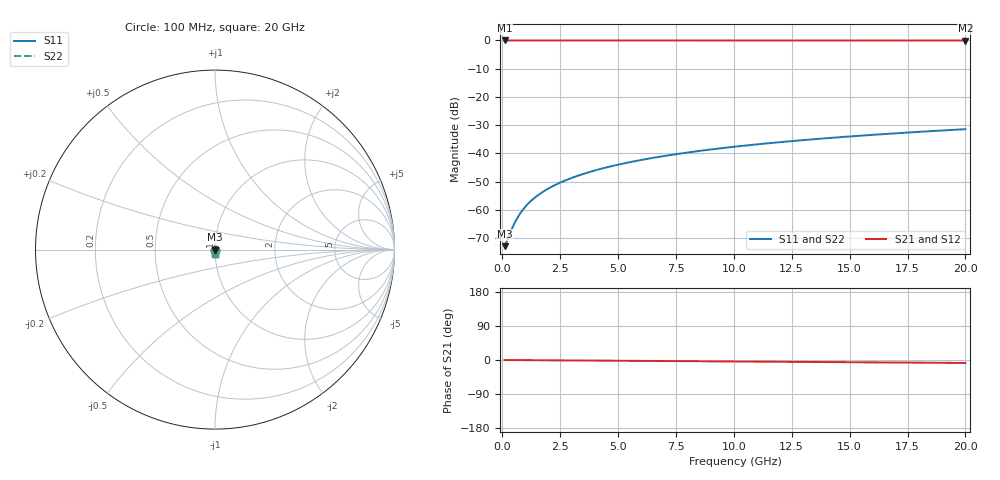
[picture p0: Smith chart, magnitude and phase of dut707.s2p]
! Touchstone file exported from HFSS 2026.1.0
!  File:  C:/ffzhzh/LocalFiles/Ansys_Project_Files/temp_train_TSV_707_1783181903_22436.aedt
!  Generated:  12:19:52 AM Jul  5, 2026
!  Design:  TSV
!  Project:  temp_train_TSV_707_1783181903_22436
! Variables:
!  h_bsmrdl = 2um
!  h_ox = 20um
!  h_rdl = 5um
!  h_sub = 81.63um
!  h_tmrdl = 5um
!  h_tsv = 81.63um
!  h_via = 3um
!  l_bsmrdl = 300um
!  l_sub = 414.88um
!  l_tmrdl = 200um
!  m_sub = 200um
!  pitch = 24.96um
!  r_tsv = 7.44um
!  s_tmrdl = 10um
!  w_bsmrdl = 18um
!  w_sub = 500um
!  w_tmrdl = 12um
!  x_tsv_center1 = 206um
!  x_tsv_center2 = 524um
!  x_tsv_center3 = 736um
!  x_tsv_center4 = 1054um
!  x_tsv_center5 = 1266um
!  x_tsv_center6 = 1584um
# GHz S MA R 50.000000
! Terminal data exported
! Port[1] = TSV1_1_T1
! Port[2] = TSV1_1_T2
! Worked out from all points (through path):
!   200 points, 100 MHz to 20 GHz, reference 50 ohm
!   highest |S21| = 0.00 dB at 100 MHz (marker M1); lowest = 0.0 dB at 20 GHz (marker M2)
!   group delay of S21, straight-line fit = 1.08 ps
!   lowest |S11| = -72.8 dB at 100 MHz (marker M3), VSWR 1.00, Z = 50 - j0.00773 ohm
!   |S11| at or under -10 dB: start of sweep to end of sweep
!   |S22| runs from -72.8 to -31.4 dB; largest |S21 - S12| = 2.1e-15
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0.1  0.0002288 -19.7  0.9998 -0.0  0.9998 -0.0  0.0002288 -19.7
! Gamma 0 0 0 0
! Port Impedance 50 0 50 0
0.2  0.0002817 -34.4  0.9998 -0.1  0.9998 -0.1  0.0002817 -34.4
0.4  0.00045 -50.4  0.9997 -0.2  0.9997 -0.2  0.00045 -50.4
0.5  0.0005532 -55.0  0.9997 -0.2  0.9997 -0.2  0.0005532 -55.0
0.6  0.0006641 -58.5  0.9997 -0.2  0.9997 -0.2  0.0006641 -58.5
0.7  0.0007803 -61.4  0.9996 -0.3  0.9996 -0.3  0.0007803 -61.4
0.9  0.001022 -65.8  0.9996 -0.4  0.9996 -0.4  0.001022 -65.8
1.2  0.001396 -70.3  0.9995 -0.5  0.9995 -0.5  0.001396 -70.3
1.4  0.001648 -72.5  0.9995 -0.6  0.9995 -0.6  0.001648 -72.5
1.6  0.001902 -74.2  0.9995 -0.6  0.9995 -0.6  0.001902 -74.2
2.1  0.002538 -77.3  0.9994 -0.8  0.9994 -0.8  0.002538 -77.3
2.7  0.003308 -79.6  0.9993 -1.1  0.9993 -1.1  0.003308 -79.6
3.5  0.004347 -81.5  0.9992 -1.4  0.9992 -1.4  0.004347 -81.5
4.2  0.005267 -82.8  0.9992 -1.7  0.9992 -1.7  0.005267 -82.8
5  0.006332 -83.8  0.9991 -2.0  0.9991 -2.0  0.006332 -83.8
5.9  0.007541 -84.9  0.999 -2.3  0.999 -2.3  0.007541 -84.9
6.8  0.008759 -85.8  0.9989 -2.7  0.9989 -2.7  0.008759 -85.8
8.3  0.0108 -87.1  0.9988 -3.3  0.9988 -3.3  0.0108 -87.0
10.1  0.01327 -88.4  0.9986 -4.0  0.9986 -4.0  0.01327 -88.4
13.4  0.0178 -90.5  0.9984 -5.2  0.9984 -5.2  0.0178 -90.5
16.7  0.02234 -92.3  0.9981 -6.5  0.9981 -6.5  0.02234 -92.3
20  0.02691 -93.9  0.9978 -7.8  0.9978 -7.8  0.02691 -93.9
